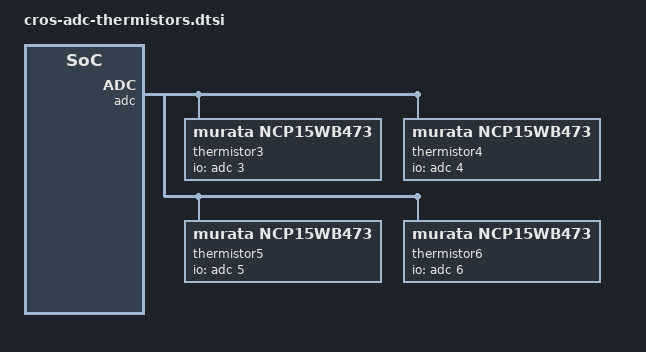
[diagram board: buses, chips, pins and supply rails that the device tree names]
// SPDX-License-Identifier: GPL-2.0-only
/*
 * Thermistor dts fragment for devices that use Thermistors as
 * children of the IIO based ADC.
 *
 * Currently, used by Exynos5420 based Peach PIT and
 * Exynos5800 based Peach PI.
 *
 * Copyright (c) 2014 Samsung Electronics Co., Ltd.
*/

&adc {
	thermistor3 {
		compatible = "murata,ncp15wb473";
		pullup-uv = <1800000>;
		pullup-ohm = <47000>;
		pulldown-ohm = <0>;
		io-channels = <&adc 3>;
	};
	thermistor4 {
		compatible = "murata,ncp15wb473";
		pullup-uv = <1800000>;
		pullup-ohm = <47000>;
		pulldown-ohm = <0>;
		io-channels = <&adc 4>;
	};
	thermistor5 {
		compatible = "murata,ncp15wb473";
		pullup-uv = <1800000>;
		pullup-ohm = <47000>;
		pulldown-ohm = <0>;
		io-channels = <&adc 5>;
	};
	thermistor6 {
		compatible = "murata,ncp15wb473";
		pullup-uv = <1800000>;
		pullup-ohm = <47000>;
		pulldown-ohm = <0>;
		io-channels = <&adc 6>;
	};
};
